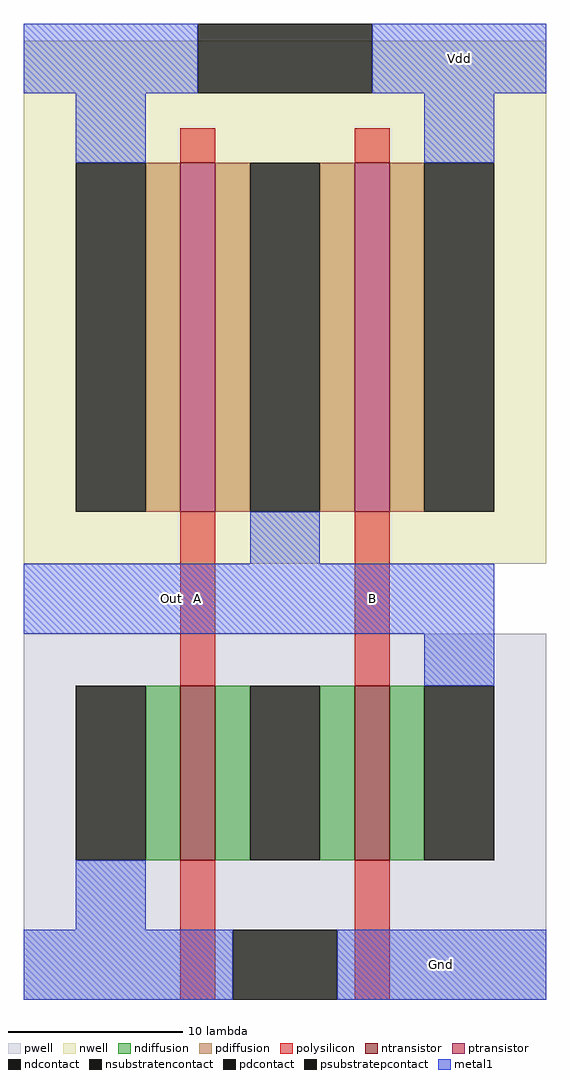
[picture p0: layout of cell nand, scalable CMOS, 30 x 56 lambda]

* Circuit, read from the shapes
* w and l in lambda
.subckt nand A B Gnd Out Vdd
M1 n1 A Gnd Gnd nfet w=10 l=2
M2 Out B n1 Gnd nfet w=10 l=2
M3 Out A Vdd Vdd pfet w=20 l=2
M4 Vdd B Out Vdd pfet w=20 l=2
.ends

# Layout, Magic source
magic
tech scmos
<< pwell >>
rect -20 -23 10 -2
<< nwell >>
rect -20 2 10 32
<< polysilicon >>
rect -11 25 -9 27
rect -1 25 1 27
rect -11 -5 -9 5
rect -1 -5 1 5
rect -11 -23 -9 -15
rect -1 -23 1 -15
<< ndiffusion >>
rect -13 -15 -11 -5
rect -9 -15 -7 -5
rect -3 -15 -1 -5
rect 1 -15 3 -5
<< pdiffusion >>
rect -13 5 -11 25
rect -9 5 -7 25
rect -3 5 -1 25
rect 1 5 3 25
<< metal1 >>
rect -20 29 -10 33
rect 0 29 10 33
rect -17 25 -13 29
rect 3 25 7 29
rect -7 2 -3 5
rect -20 -2 7 2
rect 3 -5 7 -2
rect -17 -19 -13 -15
rect -20 -23 -8 -19
rect -2 -23 10 -19
<< ntransistor >>
rect -11 -15 -9 -5
rect -1 -15 1 -5
<< ptransistor >>
rect -11 5 -9 25
rect -1 5 1 25
<< ndcontact >>
rect -17 -15 -13 -5
rect -7 -15 -3 -5
rect 3 -15 7 -5
<< pdcontact >>
rect -17 5 -13 25
rect -7 5 -3 25
rect 3 5 7 25
<< psubstratepcontact >>
rect -8 -23 -2 -19
<< nsubstratencontact >>
rect -10 29 0 33
<< labels >>
rlabel polysilicon -1 -5 1 5 1 B
rlabel polysilicon -11 -5 -9 5 1 A
rlabel metal1 0 29 10 33 6 Vdd
rlabel metal1 -2 -23 10 -19 1 Gnd
rlabel metal1 -20 -2 -3 2 1 Out
<< end >>
